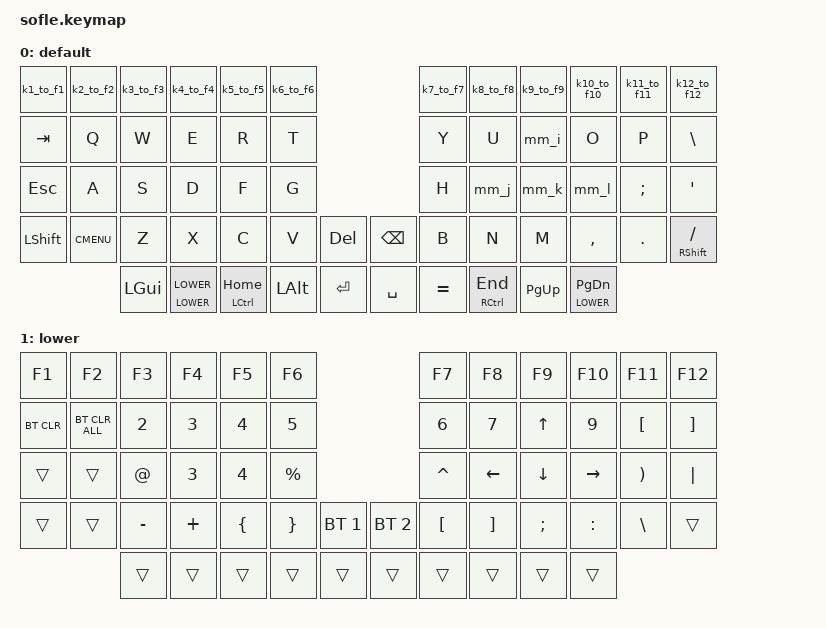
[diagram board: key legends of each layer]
/*
 * Copyright (c) 2020 The ZMK Contributors
 *
 * SPDX-License-Identifier: MIT
 */

#include <behaviors.dtsi>
#include <dt-bindings/zmk/keys.h>
#include <dt-bindings/zmk/bt.h>
#include <dt-bindings/zmk/rgb.h>
#include <dt-bindings/zmk/ext_power.h>

#define BASE 0
#define LOWER 1
#define RAISE 2
#define ADJUST 3

/ {

	behaviors {
		mm_i_shift: modmorph_i_shift {
			compatible = "zmk,behavior-mod-morph";
			#binding-cells = <0>;
			bindings = <&kp I>, <&kp UP>;
			mods = <(MOD_LSFT)>;
			keep-mods = <(MOD_LSFT)>;
		};
		mm_i: modmorph_i {
			compatible = "zmk,behavior-mod-morph";
			#binding-cells = <0>;
			bindings = <&kp I>, <&mm_i_shift>;
			mods = <(MOD_LCTL|MOD_LALT)>;
			keep-mods = <(MOD_LCTL|MOD_LALT)>;
		};
		mm_j_shift: modmorph_j_shift {
			compatible = "zmk,behavior-mod-morph";
			#binding-cells = <0>;
			bindings = <&kp J>, <&kp LEFT>;
			mods = <(MOD_LSFT)>;
			keep-mods = <(MOD_LSFT)>;
		};
		mm_j: modmorph_j {
			compatible = "zmk,behavior-mod-morph";
			#binding-cells = <0>;
			bindings = <&kp J>, <&mm_j_shift>;
			mods = <(MOD_LCTL|MOD_LALT)>;
			keep-mods = <(MOD_LCTL|MOD_LALT)>;
		};
		mm_k_shift: modmorph_k_shift {
			compatible = "zmk,behavior-mod-morph";
			#binding-cells = <0>;
			bindings = <&kp K>, <&kp DOWN>;
			mods = <(MOD_LSFT)>;
			keep-mods = <(MOD_LSFT)>;
		};
		mm_k: modmorph_k {
			compatible = "zmk,behavior-mod-morph";
			#binding-cells = <0>;
			bindings = <&kp K>, <&mm_k_shift>;
			mods = <(MOD_LCTL|MOD_LALT)>;
			keep-mods = <(MOD_LCTL|MOD_LALT)>;
		};
		mm_l_shift: modmorph_l_shift {
			compatible = "zmk,behavior-mod-morph";
			#binding-cells = <0>;
			bindings = <&kp L>, <&kp RIGHT>;
			mods = <(MOD_LSFT)>;
			keep-mods = <(MOD_LSFT)>;
		};
		mm_l: modmorph_l {
			compatible = "zmk,behavior-mod-morph";
			#binding-cells = <0>;
			bindings = <&kp L>, <&mm_l_shift>;
			mods = <(MOD_LCTL|MOD_LALT)>;
			keep-mods = <(MOD_LCTL|MOD_LALT)>;
		};
		mo_tog: behavior_mo_tog {
            compatible = "zmk,behavior-hold-tap";
            #binding-cells = <2>; // Two binding cells: one for hold layer, one for tap layer
            flavor = "hold-preferred";
            tapping-term-ms = <200>; // Adjust this value for your preferred tapping speed
            bindings = <&mo>, <&tog>; // Hold = &mo, Tap = &tog
        };
        k1_to_f1: mod_morph_1 {
            compatible = "zmk,behavior-mod-morph";
            #binding-cells = <0>;
            bindings = <&kp GRAVE &kp LA(F1)>;
            mods = <(MOD_LALT)>;
        };
        k2_to_f2: mod_morph_2 {
            compatible = "zmk,behavior-mod-morph";
            #binding-cells = <0>;
            bindings = <&kp N1 &kp LA(F2)>;
            mods = <(MOD_LALT)>;
        };
        k3_to_f3: mod_morph_3 {
            compatible = "zmk,behavior-mod-morph";
            #binding-cells = <0>;
            bindings = <&kp N2 &kp LA(F3)>;
            mods = <(MOD_LALT)>;
        };
        k4_to_f4: mod_morph_4 {
            compatible = "zmk,behavior-mod-morph";
            #binding-cells = <0>;
            bindings = <&kp N3 &kp LA(F4)>;
            mods = <(MOD_LALT)>;
        };
        k5_to_f5: mod_morph_5 {
            compatible = "zmk,behavior-mod-morph";
            #binding-cells = <0>;
            bindings = <&kp N4 &kp LA(F5)>;
            mods = <(MOD_LALT)>;
        };
        k6_to_f6: mod_morph_6 {
            compatible = "zmk,behavior-mod-morph";
            #binding-cells = <0>;
            bindings = <&kp N5 &kp LA(F6)>;
            mods = <(MOD_LALT)>;
        };
        k7_to_f7: mod_morph_7 {
            compatible = "zmk,behavior-mod-morph";
            #binding-cells = <0>;
            bindings = <&kp N6 &kp LA(F7)>;
            mods = <(MOD_LALT)>;
        };
        k8_to_f8: mod_morph_8 {
            compatible = "zmk,behavior-mod-morph";
            #binding-cells = <0>;
            bindings = <&kp N7 &kp LA(F8)>;
            mods = <(MOD_LALT)>;
        };
        k9_to_f9: mod_morph_9 {
            compatible = "zmk,behavior-mod-morph";
            #binding-cells = <0>;
            bindings = <&kp N8 &kp LA(F9)>;
            mods = <(MOD_LALT)>;
        };
        k10_to_f10: mod_morph_10 {
            compatible = "zmk,behavior-mod-morph";
            #binding-cells = <0>;
            bindings = <&kp N9 &kp LA(F10)>;
            mods = <(MOD_LALT)>;
        };
        k11_to_f11: mod_morph_11 {
            compatible = "zmk,behavior-mod-morph";
            #binding-cells = <0>;
            bindings = <&kp N0 &kp LA(F11)>;
            mods = <(MOD_LALT)>;
        };
        k12_to_f12: mod_morph_12 {
            compatible = "zmk,behavior-mod-morph";
            #binding-cells = <0>;
            bindings = <&kp MINUS &kp LA(F12)>;
            mods = <(MOD_LALT)>;
        };
	};

    keymap {
        compatible = "zmk,keymap";

        default_layer {
            display-name = "default";
// ------------------------------------------------------------------------------------------------------------
// |   `   |  1  |  2  |  3   |  4   |  5   |                   |  6   |  7    |  8    |  9   |   0   |       |
// |  ESC  |  Q  |  W  |  E   |  R   |  T   |                   |  Y   |  U    |  I    |  O   |   P   | BKSPC |
// |  TAB  |  A  |  S  |  D   |  F   |  G   |                   |  H   |  J    |  K    |  L   |   ;   |   '   |
// | SHIFT |  Z  |  X  |  C   |  V   |  B   |  MUTE  |  |       |  N   |  M    |  ,    |  .   |   /   | SHIFT |
//               | GUI | ALT  | CTRL | LOWER|  ENTER |  | SPACE | RAISE| CTRL  | ALT   | GUI  |
            bindings = <
&k1_to_f1 		&k2_to_f2		&k3_to_f3   	&k4_to_f4  			&k5_to_f5    	&k6_to_f6                           &k7_to_f7 	&k8_to_f8    	&k9_to_f9  	&k10_to_f10 	&k11_to_f11    	&k12_to_f12
&kp TAB 		&kp Q  			&kp W    		&kp E    			&kp R     		&kp T                             	&kp Y  	 	&kp U     		&mm_i   	&kp O    		&kp P     		&kp BSLH
&kp ESC   		&kp A  			&kp S    		&kp D    			&kp F     		&kp G                             	&kp H  	 	&mm_j     		&mm_k   	&mm_l    		&kp SEMI  		&kp SQT
&kp LSHFT 	 	&kp K_CMENU	 	&kp Z    		&kp X    			&kp C     		&kp V   &kp DEL  		&kp BSPC  	&kp B  	 	&kp N     		&kp M 		&kp COMMA		&kp DOT   		&mt RSHFT FSLH
								&kp LGUI 		&mo_tog LOWER LOWER	&mt LCTRL HOME 	&kp LALT  	&kp RET     	&kp SPACE 	&kp EQUAL  	&mt RCTRL END	&kp PG_UP 	&lt LOWER PG_DN
            >;

            //sensor-bindings = <&inc_dec_kp C_VOL_UP C_VOL_DN &inc_dec_kp PG_UP PG_DN>;
        };

        lower_layer {
            display-name = "lower";
// TODO: Some binds are waiting for shifted keycode support.
// ------------------------------------------------------------------------------------------------------------
// |       |  F1 |  F2 |  F3  |  F4  |  F5  |                   |  F6  |  F7   |  F8   |  F9  |  F10  |  F11  |
// |   `   |  1  |  2  |  3   |  4   |  5   |                   |  6   |  7    |  8    |  9   |   0   |  F12  |
// |       |  !  |  @  |  #   |  $   |  %   |                   |  ^   |  &    |  *    |  (   |   )   |   |   |
// |       |  =  |  -  |  +   |  {   |  }   |        |  |       |  [   |  ]    |  ;    |  :   |   \   |       |
//               |     |      |      |      |        |  |       |      |       |       |      |
            bindings = <
&kp F1    &kp F2    &kp F3    	&kp F4    		&kp F5    &kp F6                    			&kp F7   	&kp F8    	&kp F9    	&kp F10   	&kp F11   &kp F12
&bt BT_CLR    &bt BT_CLR_ALL    &kp N2    	&kp N3      	&kp N4    &kp N5                    			&kp N6    	&kp N7   	&kp UP    	&kp N9    	&kp LBKT    &kp RBKT
&trans    &trans  &kp AT    	&kp N3    	&kp N4  &kp PRCNT                 			&kp CARET 	&kp LEFT 	&kp DOWN 	&kp RIGHT  	&kp RPAR  &kp PIPE
&trans    &trans	&kp MINUS 	&kp PLUS 		&kp LBRC  &kp RBRC  	&bt BT_SEL 1 	&bt BT_SEL 2  &kp LBKT  	&kp RBKT 	&kp SEMI  	&kp COLON 	&kp BSLH  &trans
                    &trans    	&trans      	&trans    &trans     	&trans 	&trans	  	&trans    	&trans   	&trans    	&trans
            >;

            //sensor-bindings = <&inc_dec_kp C_VOL_UP C_VOL_DN &inc_dec_kp PG_UP PG_DN>;
        };

    };
};
